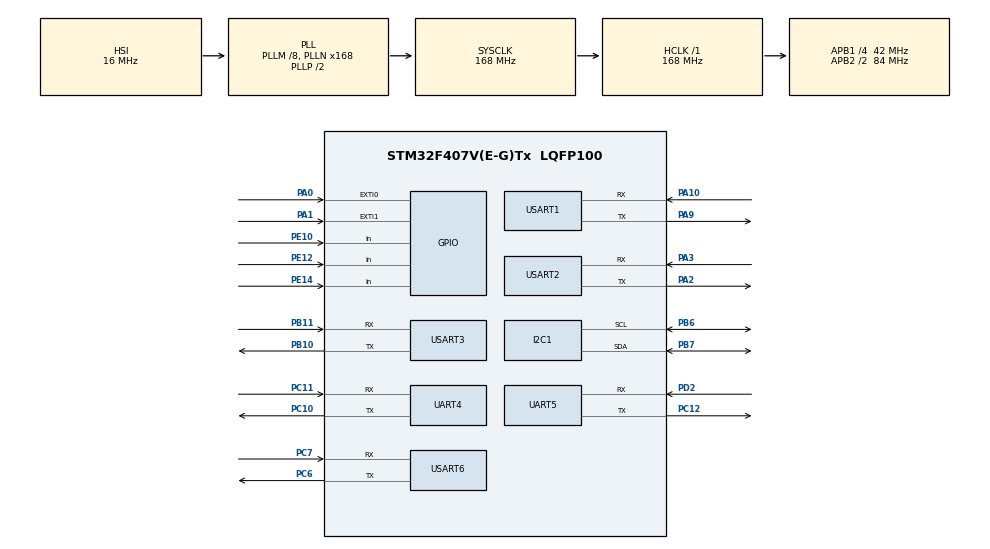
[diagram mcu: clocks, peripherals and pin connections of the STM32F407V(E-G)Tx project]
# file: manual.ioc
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Dma.Request0=USART3_RX
Dma.Request1=USART6_RX
Dma.Request2=UART5_RX
Dma.Request3=USART1_RX
Dma.Request4=USART2_RX
Dma.Request5=UART4_RX
Dma.UART4_RX.5.Direction=DMA_PERIPH_TO_MEMORY
Dma.UART4_RX.5.FIFOMode=DMA_FIFOMODE_DISABLE
Dma.UART4_RX.5.Instance=DMA1_Stream2
Dma.UART4_RX.5.MemDataAlignment=DMA_MDATAALIGN_BYTE
Dma.UART4_RX.5.MemInc=DMA_MINC_ENABLE
Dma.UART4_RX.5.Mode=DMA_NORMAL
Dma.UART4_RX.5.PeriphDataAlignment=DMA_PDATAALIGN_BYTE
Dma.UART4_RX.5.PeriphInc=DMA_PINC_DISABLE
Dma.UART4_RX.5.Priority=DMA_PRIORITY_LOW
Dma.UART5_RX.2.Direction=DMA_PERIPH_TO_MEMORY
Dma.UART5_RX.2.FIFOMode=DMA_FIFOMODE_DISABLE
Dma.UART5_RX.2.Instance=DMA1_Stream0
Dma.UART5_RX.2.MemDataAlignment=DMA_MDATAALIGN_BYTE
Dma.UART5_RX.2.MemInc=DMA_MINC_ENABLE
Dma.UART5_RX.2.Mode=DMA_NORMAL
Dma.UART5_RX.2.PeriphDataAlignment=DMA_PDATAALIGN_BYTE
Dma.UART5_RX.2.PeriphInc=DMA_PINC_DISABLE
Dma.UART5_RX.2.Priority=DMA_PRIORITY_LOW
Dma.USART1_RX.3.Direction=DMA_PERIPH_TO_MEMORY
Dma.USART1_RX.3.FIFOMode=DMA_FIFOMODE_DISABLE
Dma.USART1_RX.3.Instance=DMA2_Stream2
Dma.USART1_RX.3.MemDataAlignment=DMA_MDATAALIGN_BYTE
Dma.USART1_RX.3.MemInc=DMA_MINC_ENABLE
Dma.USART1_RX.3.Mode=DMA_NORMAL
Dma.USART1_RX.3.PeriphDataAlignment=DMA_PDATAALIGN_BYTE
Dma.USART1_RX.3.PeriphInc=DMA_PINC_DISABLE
Dma.USART1_RX.3.Priority=DMA_PRIORITY_LOW
Dma.USART2_RX.4.Direction=DMA_PERIPH_TO_MEMORY
Dma.USART2_RX.4.FIFOMode=DMA_FIFOMODE_DISABLE
Dma.USART2_RX.4.Instance=DMA1_Stream5
Dma.USART2_RX.4.MemDataAlignment=DMA_MDATAALIGN_BYTE
Dma.USART2_RX.4.MemInc=DMA_MINC_ENABLE
Dma.USART2_RX.4.Mode=DMA_NORMAL
Dma.USART2_RX.4.PeriphDataAlignment=DMA_PDATAALIGN_BYTE
Dma.USART2_RX.4.PeriphInc=DMA_PINC_DISABLE
Dma.USART2_RX.4.Priority=DMA_PRIORITY_LOW
Dma.USART3_RX.0.Direction=DMA_PERIPH_TO_MEMORY
Dma.USART3_RX.0.FIFOMode=DMA_FIFOMODE_DISABLE
Dma.USART3_RX.0.Instance=DMA1_Stream1
Dma.USART3_RX.0.MemDataAlignment=DMA_MDATAALIGN_BYTE
Dma.USART3_RX.0.MemInc=DMA_MINC_ENABLE
Dma.USART3_RX.0.Mode=DMA_NORMAL
Dma.USART3_RX.0.PeriphDataAlignment=DMA_PDATAALIGN_BYTE
Dma.USART3_RX.0.PeriphInc=DMA_PINC_DISABLE
Dma.USART3_RX.0.Priority=DMA_PRIORITY_LOW
Dma.USART6_RX.1.Direction=DMA_PERIPH_TO_MEMORY
Dma.USART6_RX.1.FIFOMode=DMA_FIFOMODE_DISABLE
Dma.USART6_RX.1.Instance=DMA2_Stream1
Dma.USART6_RX.1.MemDataAlignment=DMA_MDATAALIGN_BYTE
Dma.USART6_RX.1.MemInc=DMA_MINC_ENABLE
Dma.USART6_RX.1.Mode=DMA_NORMAL
Dma.USART6_RX.1.PeriphDataAlignment=DMA_PDATAALIGN_BYTE
Dma.USART6_RX.1.PeriphInc=DMA_PINC_DISABLE
Dma.USART6_RX.1.Priority=DMA_PRIORITY_LOW
FREERTOS.Tasks01=Task1,48,128,Task1_init,Default,NULL,Dynamic,NULL,NULL;Task2,16,128,Task2_init,Default,NULL,Dynamic,NULL,NULL
FREERTOS.configENABLE_FPU=1
I2C1.I2C_Mode=I2C_Fast
Mcu.Family=STM32F4
Mcu.Name=STM32F407V(E-G)Tx
Mcu.Package=LQFP100
NVIC.DMA1_Stream0_IRQn=true\:5\:0\:false\:false\:true\:true\:false\:true\:true
NVIC.DMA1_Stream1_IRQn=true\:5\:0\:false\:false\:true\:true\:false\:true\:true
NVIC.DMA1_Stream2_IRQn=true\:5\:0\:false\:false\:true\:true\:false\:true\:true
NVIC.DMA1_Stream5_IRQn=true\:5\:0\:false\:false\:true\:true\:false\:true\:true
NVIC.DMA2_Stream1_IRQn=true\:10\:0\:true\:false\:true\:true\:false\:true\:true
NVIC.DMA2_Stream2_IRQn=true\:5\:0\:false\:false\:true\:true\:false\:true\:true
NVIC.EXTI0_IRQn=true\:5\:0\:false\:false\:true\:true\:true\:true\:true
NVIC.EXTI1_IRQn=true\:5\:0\:false\:false\:true\:true\:true\:true\:true
NVIC.FPU_IRQn=true\:5\:0\:false\:false\:true\:true\:true\:false\:true
NVIC.I2C1_ER_IRQn=true\:5\:0\:false\:false\:true\:true\:true\:true\:true
NVIC.I2C1_EV_IRQn=true\:5\:0\:false\:false\:true\:true\:true\:true\:true
NVIC.PriorityGroup=NVIC_PRIORITYGROUP_4
NVIC.TIM6_DAC_IRQn=true\:5\:0\:true\:false\:true\:true\:true\:true\:true
NVIC.TIM7_IRQn=true\:5\:0\:false\:false\:true\:true\:true\:true\:true
NVIC.TIM8_TRG_COM_TIM14_IRQn=true\:15\:0\:false\:false\:true\:false\:false\:true\:true
NVIC.TimeBase=TIM8_TRG_COM_TIM14_IRQn
NVIC.TimeBaseIP=TIM14
NVIC.UART4_IRQn=true\:10\:0\:true\:false\:true\:true\:true\:true\:true
NVIC.UART5_IRQn=true\:10\:0\:true\:false\:true\:true\:true\:true\:true
NVIC.USART1_IRQn=true\:5\:0\:true\:false\:true\:true\:true\:true\:true
NVIC.USART2_IRQn=true\:10\:0\:true\:false\:true\:true\:true\:true\:true
NVIC.USART3_IRQn=true\:10\:0\:true\:false\:true\:true\:true\:true\:true
NVIC.USART6_IRQn=true\:10\:0\:true\:false\:true\:true\:true\:true\:true
PA0-WKUP.GPIO_ModeDefaultEXTI=GPIO_MODE_IT_RISING_FALLING
PA0-WKUP.Signal=GPXTI0
PA1.GPIO_ModeDefaultEXTI=GPIO_MODE_IT_RISING_FALLING
PA1.Signal=GPXTI1
PA10.Mode=Asynchronous
PA10.Signal=USART1_RX
PA13.Mode=Serial_Wire
PA13.Signal=SYS_JTMS-SWDIO
PA14.Mode=Serial_Wire
PA14.Signal=SYS_JTCK-SWCLK
PA2.Mode=Asynchronous
PA2.Signal=USART2_TX
PA3.Mode=Asynchronous
PA3.Signal=USART2_RX
PA9.Mode=Asynchronous
PA9.Signal=USART1_TX
PB10.Mode=Asynchronous
PB10.Signal=USART3_TX
PB11.Mode=Asynchronous
PB11.Signal=USART3_RX
PB6.Mode=I2C
PB6.Signal=I2C1_SCL
PB7.Mode=I2C
PB7.Signal=I2C1_SDA
PC10.Mode=Asynchronous
PC10.Signal=UART4_TX
PC11.Mode=Asynchronous
PC11.Signal=UART4_RX
PC12.Mode=Asynchronous
PC12.Signal=UART5_TX
PC14-OSC32_IN.Mode=LSE-External-Oscillator
PC14-OSC32_IN.Signal=RCC_OSC32_IN
PC15-OSC32_OUT.Mode=LSE-External-Oscillator
PC15-OSC32_OUT.Signal=RCC_OSC32_OUT
PC6.Mode=Asynchronous
PC6.Signal=USART6_TX
PC7.Mode=Asynchronous
PC7.Signal=USART6_RX
PD2.Mode=Asynchronous
PD2.Signal=UART5_RX
PE10.Signal=GPIO_Input
PE12.Signal=GPIO_Input
PE14.Signal=GPIO_Input
PH0-OSC_IN.Mode=HSE-External-Oscillator
PH0-OSC_IN.Signal=RCC_OSC_IN
PH1-OSC_OUT.Mode=HSE-External-Oscillator
PH1-OSC_OUT.Signal=RCC_OSC_OUT
ProjectManager.HeapSize=0x200
ProjectManager.StackSize=0x400
ProjectManager.TargetToolchain=EWARM V8
RCC.48MHZClocksFreq_Value=84000000
RCC.AHBFreq_Value=168000000
RCC.APB1CLKDivider=RCC_HCLK_DIV4
RCC.APB1Freq_Value=42000000
RCC.APB1TimFreq_Value=84000000
RCC.APB2CLKDivider=RCC_HCLK_DIV2
RCC.APB2Freq_Value=84000000
RCC.APB2TimFreq_Value=168000000
RCC.CortexFreq_Value=168000000
RCC.HCLKFreq_Value=168000000
RCC.HSE_VALUE=25000000
RCC.HSI_VALUE=16000000
RCC.PLLM=8
RCC.PLLN=168
RCC.SYSCLKFreq_VALUE=168000000
RCC.SYSCLKSource=RCC_SYSCLKSOURCE_PLLCLK
RCC.VCOOutputFreq_Value=336000000
TIM6.AutoReloadPreload=TIM_AUTORELOAD_PRELOAD_ENABLE
TIM6.Period=999
TIM6.Prescaler=167
TIM7.AutoReloadPreload=TIM_AUTORELOAD_PRELOAD_ENABLE
TIM7.Period=999
TIM7.Prescaler=167
UART4.VirtualMode=Asynchronous
UART5.VirtualMode=Asynchronous
USART1.VirtualMode=VM_ASYNC
USART2.VirtualMode=VM_ASYNC
USART3.VirtualMode=VM_ASYNC
USART6.VirtualMode=VM_ASYNC
VP_FREERTOS_VS_CMSIS_V2.Mode=CMSIS_V2
VP_SYS_VS_tim14.Mode=TIM14
VP_TIM6_VS_ClockSourceINT.Mode=Enable_Timer
VP_TIM7_VS_ClockSourceINT.Mode=Enable_Timer
board=custom

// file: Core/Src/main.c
/* USER CODE BEGIN Header */
/**
  ******************************************************************************
  * @file           : main.c
  * @brief          : Main program body
  ******************************************************************************
  * @attention
  *
  * Copyright (c) 2024 STMicroelectronics.
  * All rights reserved.
  *
  * This software is licensed under terms that can be found in the LICENSE file
  * in the root directory of this software component.
  * If no LICENSE file comes with this software, it is provided AS-IS.
  *
  ******************************************************************************
  */
/* USER CODE END Header */
#include "main.h"
#include "cmsis_os.h"

/* USER CODE BEGIN Includes */
#include "tactic.h"
/* USER CODE END Includes */

I2C_HandleTypeDef hi2c1;

TIM_HandleTypeDef htim6;
TIM_HandleTypeDef htim7;

UART_HandleTypeDef huart4;
UART_HandleTypeDef huart5;
UART_HandleTypeDef huart1;
UART_HandleTypeDef huart2;
UART_HandleTypeDef huart3;
UART_HandleTypeDef huart6;
DMA_HandleTypeDef hdma_uart4_rx;
DMA_HandleTypeDef hdma_uart5_rx;
DMA_HandleTypeDef hdma_usart1_rx;
DMA_HandleTypeDef hdma_usart2_rx;
DMA_HandleTypeDef hdma_usart3_rx;
DMA_HandleTypeDef hdma_usart6_rx;

/* Definitions for Task1 */
osThreadId_t Task1Handle;
const osThreadAttr_t Task1_attributes = {
  .name = "Task1",
  .stack_size = 128 * 4,
  .priority = (osPriority_t) osPriorityRealtime,
};
/* Definitions for Task2 */
osThreadId_t Task2Handle;
const osThreadAttr_t Task2_attributes = {
  .name = "Task2",
  .stack_size = 128 * 4,
  .priority = (osPriority_t) osPriorityBelowNormal,
};

void SystemClock_Config(void);
static void MX_GPIO_Init(void);
static void MX_DMA_Init(void);
static void MX_I2C1_Init(void);
static void MX_TIM6_Init(void);
static void MX_TIM7_Init(void);
static void MX_UART4_Init(void);
static void MX_UART5_Init(void);
static void MX_USART1_UART_Init(void);
static void MX_USART2_UART_Init(void);
static void MX_USART3_UART_Init(void);
static void MX_USART6_UART_Init(void);
void Task1_init(void *argument);
void Task2_init(void *argument);

/* USER CODE BEGIN 0 */
uint8_t dataaa[100];
uint8_t buff_Esp[1];
void HAL_UARTEx_RxEventCallback(UART_HandleTypeDef *huart, uint16_t Size)
{
  if(huart->Instance==USART1)
  {

  }
 if(huart->Instance==USART3)
 {
    Lazer_Return_2();
 }
 if(huart->Instance==UART5)
 {
    Lazer_Return_1();
 }
 if(huart->Instance==USART6)
 {
    Screen_Return();
 }
 if(huart->Instance==UART4)
 {
    HAL_UARTEx_ReceiveToIdle_DMA(&huart4, buff_Esp,sizeof(buff_Esp));
  __HAL_DMA_DISABLE_IT(&hdma_uart4_rx, DMA_IT_HT);
 }

}

/* USER CODE END 0 */

int main(void)
{

  /* MCU Configuration--------------------------------------------------------*/

  /* Reset of all peripherals, Initializes the Flash interface and the Systick. */
  HAL_Init();

  /* Configure the system clock */
  SystemClock_Config();

  /* Initialize all configured peripherals */
  MX_GPIO_Init();
  MX_DMA_Init();
  MX_I2C1_Init();
  MX_TIM6_Init();
  MX_TIM7_Init();
  MX_UART4_Init();
  MX_UART5_Init();
  MX_USART1_UART_Init();
  MX_USART2_UART_Init();
  MX_USART3_UART_Init();
  MX_USART6_UART_Init();
  /* USER CODE BEGIN 2 */
  HAL_TIM_Base_Start_IT(&htim6);
  HAL_TIM_Base_Start_IT(&htim7);
  Modbus_Init(&huart1);

  DC_Servo_Driver_UART_Init();

  /* USER CODE END 2 */

  /* Init scheduler */
  osKernelInitialize();

  /* Create the thread(s) */
  /* creation of Task1 */
  Task1Handle = osThreadNew(Task1_init, NULL, &Task1_attributes);

  /* creation of Task2 */
  Task2Handle = osThreadNew(Task2_init, NULL, &Task2_attributes);

  /* Start scheduler */
  osKernelStart();

  /* We should never get here as control is now taken by the scheduler */
  /* Infinite loop */
  while (1)
  {

  }
}

void SystemClock_Config(void)
{
  RCC_OscInitTypeDef RCC_OscInitStruct = {0};
  RCC_ClkInitTypeDef RCC_ClkInitStruct = {0};

  /** Configure the main internal regulator output voltage
  */
  __HAL_RCC_PWR_CLK_ENABLE();
  __HAL_PWR_VOLTAGESCALING_CONFIG(PWR_REGULATOR_VOLTAGE_SCALE1);

  /** Initializes the RCC Oscillators according to the specified parameters
  * in the RCC_OscInitTypeDef structure.
  */
  RCC_OscInitStruct.OscillatorType = RCC_OSCILLATORTYPE_HSI;
  RCC_OscInitStruct.HSIState = RCC_HSI_ON;
  RCC_OscInitStruct.HSICalibrationValue = RCC_HSICALIBRATION_DEFAULT;
  RCC_OscInitStruct.PLL.PLLState = RCC_PLL_ON;
  RCC_OscInitStruct.PLL.PLLSource = RCC_PLLSOURCE_HSI;
  RCC_OscInitStruct.PLL.PLLM = 8;
  RCC_OscInitStruct.PLL.PLLN = 168;
  RCC_OscInitStruct.PLL.PLLP = RCC_PLLP_DIV2;
  RCC_OscInitStruct.PLL.PLLQ = 4;
  if (HAL_RCC_OscConfig(&RCC_OscInitStruct) != HAL_OK)
  {
    Error_Handler();
  }

  /** Initializes the CPU, AHB and APB buses clocks
  */
  RCC_ClkInitStruct.ClockType = RCC_CLOCKTYPE_HCLK|RCC_CLOCKTYPE_SYSCLK
                              |RCC_CLOCKTYPE_PCLK1|RCC_CLOCKTYPE_PCLK2;
  RCC_ClkInitStruct.SYSCLKSource = RCC_SYSCLKSOURCE_PLLCLK;
  RCC_ClkInitStruct.AHBCLKDivider = RCC_SYSCLK_DIV1;
  RCC_ClkInitStruct.APB1CLKDivider = RCC_HCLK_DIV4;
  RCC_ClkInitStruct.APB2CLKDivider = RCC_HCLK_DIV2;

  if (HAL_RCC_ClockConfig(&RCC_ClkInitStruct, FLASH_LATENCY_5) != HAL_OK)
  {
    Error_Handler();
  }
}

static void MX_I2C1_Init(void)
{

  hi2c1.Instance = I2C1;
  hi2c1.Init.ClockSpeed = 400000;
  hi2c1.Init.DutyCycle = I2C_DUTYCYCLE_2;
  hi2c1.Init.OwnAddress1 = 0;
  hi2c1.Init.AddressingMode = I2C_ADDRESSINGMODE_7BIT;
  hi2c1.Init.DualAddressMode = I2C_DUALADDRESS_DISABLE;
  hi2c1.Init.OwnAddress2 = 0;
  hi2c1.Init.GeneralCallMode = I2C_GENERALCALL_DISABLE;
  hi2c1.Init.NoStretchMode = I2C_NOSTRETCH_DISABLE;
  if (HAL_I2C_Init(&hi2c1) != HAL_OK)
  {
    Error_Handler();
  }

}

static void MX_TIM6_Init(void)
{

  TIM_MasterConfigTypeDef sMasterConfig = {0};

  htim6.Instance = TIM6;
  htim6.Init.Prescaler = 167;
  htim6.Init.CounterMode = TIM_COUNTERMODE_UP;
  htim6.Init.Period = 999;
  htim6.Init.AutoReloadPreload = TIM_AUTORELOAD_PRELOAD_ENABLE;
  if (HAL_TIM_Base_Init(&htim6) != HAL_OK)
  {
    Error_Handler();
  }
  sMasterConfig.MasterOutputTrigger = TIM_TRGO_RESET;
  sMasterConfig.MasterSlaveMode = TIM_MASTERSLAVEMODE_DISABLE;
  if (HAL_TIMEx_MasterConfigSynchronization(&htim6, &sMasterConfig) != HAL_OK)
  {
    Error_Handler();
  }

}

static void MX_TIM7_Init(void)
{

  TIM_MasterConfigTypeDef sMasterConfig = {0};

  htim7.Instance = TIM7;
  htim7.Init.Prescaler = 167;
  htim7.Init.CounterMode = TIM_COUNTERMODE_UP;
  htim7.Init.Period = 999;
  htim7.Init.AutoReloadPreload = TIM_AUTORELOAD_PRELOAD_ENABLE;
  if (HAL_TIM_Base_Init(&htim7) != HAL_OK)
  {
    Error_Handler();
  }
  sMasterConfig.MasterOutputTrigger = TIM_TRGO_RESET;
  sMasterConfig.MasterSlaveMode = TIM_MASTERSLAVEMODE_DISABLE;
  if (HAL_TIMEx_MasterConfigSynchronization(&htim7, &sMasterConfig) != HAL_OK)
  {
    Error_Handler();
  }

}

static void MX_UART4_Init(void)
{

  huart4.Instance = UART4;
  huart4.Init.BaudRate = 115200;
  huart4.Init.WordLength = UART_WORDLENGTH_8B;
  huart4.Init.StopBits = UART_STOPBITS_1;
  huart4.Init.Parity = UART_PARITY_NONE;
  huart4.Init.Mode = UART_MODE_TX_RX;
  huart4.Init.HwFlowCtl = UART_HWCONTROL_NONE;
  huart4.Init.OverSampling = UART_OVERSAMPLING_16;
  if (HAL_UART_Init(&huart4) != HAL_OK)
  {
    Error_Handler();
  }

}

static void MX_UART5_Init(void)
{

  huart5.Instance = UART5;
  huart5.Init.BaudRate = 115200;
  huart5.Init.WordLength = UART_WORDLENGTH_8B;
  huart5.Init.StopBits = UART_STOPBITS_1;
  huart5.Init.Parity = UART_PARITY_NONE;
  huart5.Init.Mode = UART_MODE_TX_RX;
  huart5.Init.HwFlowCtl = UART_HWCONTROL_NONE;
  huart5.Init.OverSampling = UART_OVERSAMPLING_16;
  if (HAL_UART_Init(&huart5) != HAL_OK)
  {
    Error_Handler();
  }

}

static void MX_USART1_UART_Init(void)
{

  huart1.Instance = USART1;
  huart1.Init.BaudRate = 115200;
  huart1.Init.WordLength = UART_WORDLENGTH_8B;
  huart1.Init.StopBits = UART_STOPBITS_1;
  huart1.Init.Parity = UART_PARITY_NONE;
  huart1.Init.Mode = UART_MODE_TX_RX;
  huart1.Init.HwFlowCtl = UART_HWCONTROL_NONE;
  huart1.Init.OverSampling = UART_OVERSAMPLING_16;
  if (HAL_UART_Init(&huart1) != HAL_OK)
  {
    Error_Handler();
  }

}

static void MX_USART2_UART_Init(void)
{

  huart2.Instance = USART2;
  huart2.Init.BaudRate = 115200;
  huart2.Init.WordLength = UART_WORDLENGTH_8B;
  huart2.Init.StopBits = UART_STOPBITS_1;
  huart2.Init.Parity = UART_PARITY_NONE;
  huart2.Init.Mode = UART_MODE_TX_RX;
  huart2.Init.HwFlowCtl = UART_HWCONTROL_NONE;
  huart2.Init.OverSampling = UART_OVERSAMPLING_16;
  if (HAL_UART_Init(&huart2) != HAL_OK)
  {
    Error_Handler();
  }

}

static void MX_USART3_UART_Init(void)
{

  huart3.Instance = USART3;
  huart3.Init.BaudRate = 115200;
  huart3.Init.WordLength = UART_WORDLENGTH_8B;
  huart3.Init.StopBits = UART_STOPBITS_1;
  huart3.Init.Parity = UART_PARITY_NONE;
  huart3.Init.Mode = UART_MODE_TX_RX;
  huart3.Init.HwFlowCtl = UART_HWCONTROL_NONE;
  huart3.Init.OverSampling = UART_OVERSAMPLING_16;
  if (HAL_UART_Init(&huart3) != HAL_OK)
  {
    Error_Handler();
  }

}

static void MX_USART6_UART_Init(void)
{

  huart6.Instance = USART6;
  huart6.Init.BaudRate = 115200;
  huart6.Init.WordLength = UART_WORDLENGTH_8B;
  huart6.Init.StopBits = UART_STOPBITS_1;
  huart6.Init.Parity = UART_PARITY_NONE;
  huart6.Init.Mode = UART_MODE_TX_RX;
  huart6.Init.HwFlowCtl = UART_HWCONTROL_NONE;
  huart6.Init.OverSampling = UART_OVERSAMPLING_16;
  if (HAL_UART_Init(&huart6) != HAL_OK)
  {
    Error_Handler();
  }

}

static void MX_DMA_Init(void)
{

  /* DMA controller clock enable */
  __HAL_RCC_DMA1_CLK_ENABLE();
  __HAL_RCC_DMA2_CLK_ENABLE();

  /* DMA interrupt init */
  /* DMA1_Stream0_IRQn interrupt configuration */
  HAL_NVIC_SetPriority(DMA1_Stream0_IRQn, 5, 0);
  HAL_NVIC_EnableIRQ(DMA1_Stream0_IRQn);
  /* DMA1_Stream1_IRQn interrupt configuration */
  HAL_NVIC_SetPriority(DMA1_Stream1_IRQn, 5, 0);
  HAL_NVIC_EnableIRQ(DMA1_Stream1_IRQn);
  /* DMA1_Stream2_IRQn interrupt configuration */
  HAL_NVIC_SetPriority(DMA1_Stream2_IRQn, 5, 0);
  HAL_NVIC_EnableIRQ(DMA1_Stream2_IRQn);
  /* DMA1_Stream5_IRQn interrupt configuration */
  HAL_NVIC_SetPriority(DMA1_Stream5_IRQn, 5, 0);
  HAL_NVIC_EnableIRQ(DMA1_Stream5_IRQn);
  /* DMA2_Stream1_IRQn interrupt configuration */
  HAL_NVIC_SetPriority(DMA2_Stream1_IRQn, 10, 0);
  HAL_NVIC_EnableIRQ(DMA2_Stream1_IRQn);
  /* DMA2_Stream2_IRQn interrupt configuration */
  HAL_NVIC_SetPriority(DMA2_Stream2_IRQn, 5, 0);
  HAL_NVIC_EnableIRQ(DMA2_Stream2_IRQn);

}

static void MX_GPIO_Init(void)
{
  GPIO_InitTypeDef GPIO_InitStruct = {0};

  /* GPIO Ports Clock Enable */
  __HAL_RCC_GPIOC_CLK_ENABLE();
  __HAL_RCC_GPIOH_CLK_ENABLE();
  __HAL_RCC_GPIOA_CLK_ENABLE();
  __HAL_RCC_GPIOE_CLK_ENABLE();
  __HAL_RCC_GPIOB_CLK_ENABLE();
  __HAL_RCC_GPIOD_CLK_ENABLE();

  /*Configure GPIO pins : PA0 PA1 */
  GPIO_InitStruct.Pin = GPIO_PIN_0|GPIO_PIN_1;
  GPIO_InitStruct.Mode = GPIO_MODE_IT_RISING_FALLING;
  GPIO_InitStruct.Pull = GPIO_NOPULL;
  HAL_GPIO_Init(GPIOA, &GPIO_InitStruct);

  /*Configure GPIO pins : PE10 PE12 PE14 */
  GPIO_InitStruct.Pin = GPIO_PIN_10|GPIO_PIN_12|GPIO_PIN_14;
  GPIO_InitStruct.Mode = GPIO_MODE_INPUT;
  GPIO_InitStruct.Pull = GPIO_NOPULL;
  HAL_GPIO_Init(GPIOE, &GPIO_InitStruct);

  /* EXTI interrupt init*/
  HAL_NVIC_SetPriority(EXTI0_IRQn, 5, 0);
  HAL_NVIC_EnableIRQ(EXTI0_IRQn);

  HAL_NVIC_SetPriority(EXTI1_IRQn, 5, 0);
  HAL_NVIC_EnableIRQ(EXTI1_IRQn);

}

void Task1_init(void *argument)
{
  /* USER CODE BEGIN 5 */
  /* Infinite loop */

  Screen_Init();
  Lazer_Init();
  Dc_servo_driver_msb_init(&huart2);
  DC_Servo_Driver_UART_MSD_Restart_Driver(1);
  DC_Servo_Driver_UART_MSD_Moving_Stop(1);
  DC_Servo_Driver_UART_MSD_Moving_Start(1);
  DC_Servo_Driver_UART_MSD_Restart_Driver(2);
  DC_Servo_Driver_UART_MSD_Moving_Stop(2);
  DC_Servo_Driver_UART_MSD_Moving_Start(2);
  imu_init();
  imu_reset();
  Robot_Moving_Init();
//
//  HAL_UARTEx_ReceiveToIdle_DMA(&huart4, buff_Esp,sizeof(buff_Esp));
//  __HAL_DMA_DISABLE_IT(&hdma_uart4_rx, DMA_IT_HT);

  for(;;)
  {
    Modbus_WriteDO(10, 3, IO_Driver.Serial.DO, 2);
    Modbus_ReadDI(10, 0, IO_Driver.Serial.DI, 3);
//    Screen_Processing();
    Display_16bits(0x1000,Robot.Moving.Direction.Run);
    Display_16bits(0x1100,Robot.Moving.Rotary.Current);

    Display_16bits(0x1600,Lazer.Distance_1);
    Display_16bits(0x1700,Lazer.Distance_2);

    if(Robot.isRunning==1)
    {
      robotMovingHandleOutput();
    }

    osDelay(1);
  }
  /* USER CODE END 5 */
}

void Task2_init(void *argument)
{
  /* USER CODE BEGIN Task2_init */
  /* Infinite loop */

  for(;;)
  {
    home();

    running_process();
    osDelay(1);
  }
  /* USER CODE END Task2_init */
}

void HAL_TIM_PeriodElapsedCallback(TIM_HandleTypeDef *htim)
{
  /* USER CODE BEGIN Callback 0 */
  if (htim->Instance == TIM6)
  {
    Robot.Moving.Rotary.Current=imu_return();
  }
  if (htim->Instance == TIM7)
  {

  }
  /* USER CODE END Callback 0 */
  if (htim->Instance == TIM14) {
    HAL_IncTick();
  }
}

void Error_Handler(void)
{
  __disable_irq();
  while (1)
  {
  }
}
